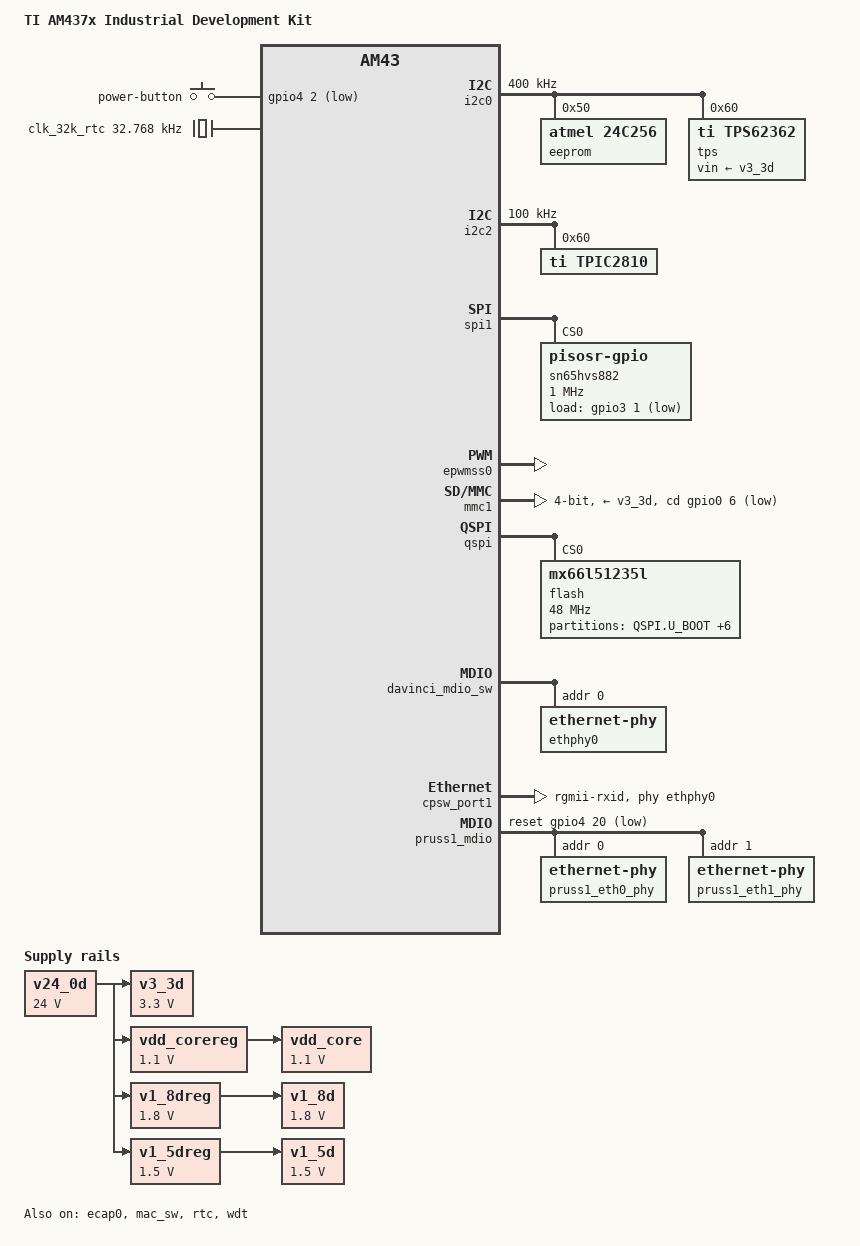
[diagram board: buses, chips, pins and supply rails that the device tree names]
// SPDX-License-Identifier: GPL-2.0-only
/*
 * Copyright (C) 2014 Texas Instruments Incorporated - https://www.ti.com/
 */

/dts-v1/;

#include "am4372.dtsi"
#include <dt-bindings/pinctrl/am43xx.h>
#include <dt-bindings/pwm/pwm.h>
#include <dt-bindings/gpio/gpio.h>
#include <dt-bindings/input/input.h>

/ {
	model = "TI AM437x Industrial Development Kit";
	compatible = "ti,am437x-idk-evm","ti,am4372","ti,am43";

	chosen {
		stdout-path = &uart0;
	};

	v24_0d: fixed-regulator-v24_0d {
		compatible = "regulator-fixed";
		regulator-name = "V24_0D";
		regulator-min-microvolt = <24000000>;
		regulator-max-microvolt = <24000000>;
		regulator-always-on;
		regulator-boot-on;
	};

	v3_3d: fixed-regulator-v3_3d {
		compatible = "regulator-fixed";
		regulator-name = "V3_3D";
		regulator-min-microvolt = <3300000>;
		regulator-max-microvolt = <3300000>;
		regulator-always-on;
		regulator-boot-on;
		vin-supply = <&v24_0d>;
	};

	vdd_corereg: fixed-regulator-vdd_corereg {
		compatible = "regulator-fixed";
		regulator-name = "VDD_COREREG";
		regulator-min-microvolt = <1100000>;
		regulator-max-microvolt = <1100000>;
		regulator-always-on;
		regulator-boot-on;
		vin-supply = <&v24_0d>;
	};

	vdd_core: fixed-regulator-vdd_core {
		compatible = "regulator-fixed";
		regulator-name = "VDD_CORE";
		regulator-min-microvolt = <1100000>;
		regulator-max-microvolt = <1100000>;
		regulator-always-on;
		regulator-boot-on;
		vin-supply = <&vdd_corereg>;
	};

	v1_8dreg: fixed-regulator-v1_8dreg {
		compatible = "regulator-fixed";
		regulator-name = "V1_8DREG";
		regulator-min-microvolt = <1800000>;
		regulator-max-microvolt = <1800000>;
		regulator-always-on;
		regulator-boot-on;
		vin-supply = <&v24_0d>;
	};

	v1_8d: fixed-regulator-v1_8d {
		compatible = "regulator-fixed";
		regulator-name = "V1_8D";
		regulator-min-microvolt = <1800000>;
		regulator-max-microvolt = <1800000>;
		regulator-always-on;
		regulator-boot-on;
		vin-supply = <&v1_8dreg>;
	};

	v1_5dreg: fixed-regulator-v1_5dreg {
		compatible = "regulator-fixed";
		regulator-name = "V1_5DREG";
		regulator-min-microvolt = <1500000>;
		regulator-max-microvolt = <1500000>;
		regulator-always-on;
		regulator-boot-on;
		vin-supply = <&v24_0d>;
	};

	v1_5d: fixed-regulator-v1_5d {
		compatible = "regulator-fixed";
		regulator-name = "V1_5D";
		regulator-min-microvolt = <1500000>;
		regulator-max-microvolt = <1500000>;
		regulator-always-on;
		regulator-boot-on;
		vin-supply = <&v1_5dreg>;
	};

	gpio_keys: gpio-keys {
		compatible = "gpio-keys";
		pinctrl-names = "default";
		pinctrl-0 = <&gpio_keys_pins_default>;

		switch-0 {
			label = "power-button";
			linux,code = <KEY_POWER>;
			gpios = <&gpio4 2 GPIO_ACTIVE_LOW>;
		};
	};

	/* fixed 32k external oscillator clock */
	clk_32k_rtc: clk_32k_rtc {
		#clock-cells = <0>;
		compatible = "fixed-clock";
		clock-frequency = <32768>;
	};

	leds-iio {
		status = "disabled";
		compatible = "gpio-leds";
		led-out0 {
			label = "out0";
			gpios = <&tpic2810 0 GPIO_ACTIVE_HIGH>;
			default-state = "off";
		};

		led-out1 {
			label = "out1";
			gpios = <&tpic2810 1 GPIO_ACTIVE_HIGH>;
			default-state = "off";
		};

		led-out2 {
			label = "out2";
			gpios = <&tpic2810 2 GPIO_ACTIVE_HIGH>;
			default-state = "off";
		};

		led-out3 {
			label = "out3";
			gpios = <&tpic2810 3 GPIO_ACTIVE_HIGH>;
			default-state = "off";
		};

		led-out4 {
			label = "out4";
			gpios = <&tpic2810 4 GPIO_ACTIVE_HIGH>;
			default-state = "off";
		};

		led-out5 {
			label = "out5";
			gpios = <&tpic2810 5 GPIO_ACTIVE_HIGH>;
			default-state = "off";
		};

		led-out6 {
			label = "out6";
			gpios = <&tpic2810 6 GPIO_ACTIVE_HIGH>;
			default-state = "off";
		};

		led-out7 {
			label = "out7";
			gpios = <&tpic2810 7 GPIO_ACTIVE_HIGH>;
			default-state = "off";
		};
	};

	/* Dual-MAC Ethernet application node on PRU-ICSS1 */
	pruss1_eth: pruss1-eth {
		compatible = "ti,am4376-prueth";
		ti,prus = <&pru1_0>, <&pru1_1>;
		sram = <&ocmcram>;
		ti,mii-rt = <&pruss1_mii_rt>;
		ti,iep = <&pruss1_iep>;
		ti,ecap = <&pruss1_ecap>;
		interrupts = <20 2 2>, <21 3 3>;
		interrupt-names = "rx_hp", "rx_lp";
		interrupt-parent = <&pruss1_intc>;

		pinctrl-0 = <&pruss1_eth_default>;
		pinctrl-names = "default";

		ethernet-ports {
			#address-cells = <1>;
			#size-cells = <0>;
			pruss1_emac0: ethernet-port@0 {
				reg = <0>;
				phy-handle = <&pruss1_eth0_phy>;
				phy-mode = "mii";
				interrupts = <20 2 2>, <26 6 6>, <23 6 6>;
				interrupt-names = "rx", "emac_ptp_tx",
						  "hsr_ptp_tx";
				/* Filled in by bootloader */
				local-mac-address = [00 00 00 00 00 00];
			};

			pruss1_emac1: ethernet-port@1 {
				reg = <1>;
				phy-handle = <&pruss1_eth1_phy>;
				phy-mode = "mii";
				interrupts = <21 3 3>, <27 9 5>, <24 9 5>;
				interrupt-names = "rx", "emac_ptp_tx",
						  "hsr_ptp_tx";
				/* Filled in by bootloader */
				local-mac-address = [00 00 00 00 00 00];
			};
		};
	};
};

&am43xx_pinmux {
	gpio_keys_pins_default: gpio-keys-default-pins {
		pinctrl-single,pins = <
			AM4372_IOPAD(0x9b8, PIN_INPUT | MUX_MODE7)	/* cam0_field.gpio4_2 */
		>;
	};

	i2c0_pins_default: i2c0-default-pins {
		pinctrl-single,pins = <
			AM4372_IOPAD(0x988, PIN_INPUT | SLEWCTRL_FAST | MUX_MODE0) /* i2c0_sda.i2c0_sda */
			AM4372_IOPAD(0x98c, PIN_INPUT | SLEWCTRL_FAST | MUX_MODE0) /* i2c0_scl.i2c0_scl */
		>;
	};

	i2c0_pins_sleep: i2c0-sleep-pins {
		pinctrl-single,pins = <
			AM4372_IOPAD(0x988, PIN_INPUT_PULLDOWN | MUX_MODE7)
			AM4372_IOPAD(0x98c, PIN_INPUT_PULLDOWN | MUX_MODE7)
		>;
	};

	i2c2_pins_default: i2c2-default-pins {
		pinctrl-single,pins = <
			AM4372_IOPAD(0x9e8, PIN_INPUT | SLEWCTRL_FAST | MUX_MODE3) /* cam1_data1.i2c2_scl */
			AM4372_IOPAD(0x9ec, PIN_INPUT | SLEWCTRL_FAST | MUX_MODE3) /* cam1_data0.i2c2_sda */
		>;
	};

	i2c2_pins_sleep: i2c2-sleep-pins {
		pinctrl-single,pins = <
			AM4372_IOPAD(0x9e8, PIN_INPUT_PULLDOWN | MUX_MODE7)
			AM4372_IOPAD(0x9ec, PIN_INPUT_PULLDOWN | MUX_MODE7)
		>;
	};

	mmc1_pins_default: mmc1-default-pins {
		pinctrl-single,pins = <
			AM4372_IOPAD(0x900, PIN_INPUT | MUX_MODE0) /* mmc0_clk.mmc0_clk */
			AM4372_IOPAD(0x904, PIN_INPUT | MUX_MODE0) /* mmc0_cmd.mmc0_cmd */
			AM4372_IOPAD(0x9f0, PIN_INPUT | MUX_MODE0) /* mmc0_dat3.mmc0_dat3 */
			AM4372_IOPAD(0x9f4, PIN_INPUT | MUX_MODE0) /* mmc0_dat2.mmc0_dat2 */
			AM4372_IOPAD(0x9f8, PIN_INPUT | MUX_MODE0) /* mmc0_dat1.mmc0_dat1 */
			AM4372_IOPAD(0x9fc, PIN_INPUT | MUX_MODE0) /* mmc0_dat0.mmc0_dat0 */
			AM4372_IOPAD(0x960, PIN_INPUT | MUX_MODE7) /* spi0_cs1.gpio0_6 */
		>;
	};

	mmc1_pins_sleep: mmc1-sleep-pins {
		pinctrl-single,pins = <
			AM4372_IOPAD(0x900, PIN_INPUT_PULLDOWN | MUX_MODE7)
			AM4372_IOPAD(0x904, PIN_INPUT_PULLDOWN | MUX_MODE7)
			AM4372_IOPAD(0x9f0, PIN_INPUT_PULLDOWN | MUX_MODE7)
			AM4372_IOPAD(0x9f4, PIN_INPUT_PULLDOWN | MUX_MODE7)
			AM4372_IOPAD(0x9f8, PIN_INPUT_PULLDOWN | MUX_MODE7)
			AM4372_IOPAD(0x9fc, PIN_INPUT_PULLDOWN | MUX_MODE7)
			AM4372_IOPAD(0x960, PIN_INPUT_PULLDOWN | MUX_MODE7)
		>;
	};

	spi1_pins_default: spi1-default-pins {
		pinctrl-single,pins = <
			AM4372_IOPAD(0x908, PIN_INPUT | MUX_MODE2)	/* mii1_col.spi1_sclk */
			AM4372_IOPAD(0x910, PIN_INPUT | MUX_MODE2)	/* mii1_rx_er.spi1_d1 */
			AM4372_IOPAD(0x944, PIN_OUTPUT | MUX_MODE2)	/* rmii1_ref_clk.spi1_cs0 */
			AM4372_IOPAD(0x90c, PIN_OUTPUT | MUX_MODE7)	/* mii1_crs.gpio3_1 */
		>;
	};

	spi1_pins_sleep: spi1-sleep-pins {
		pinctrl-single,pins = <
			AM4372_IOPAD(0x908, PIN_INPUT_PULLDOWN | MUX_MODE7)
			AM4372_IOPAD(0x910, PIN_INPUT_PULLDOWN | MUX_MODE7)
			AM4372_IOPAD(0x944, PIN_INPUT_PULLDOWN | MUX_MODE7)
			AM4372_IOPAD(0x90c, PIN_INPUT_PULLDOWN | MUX_MODE7)
		>;
	};

	ecap0_pins_default: backlight-default-pins {
		pinctrl-single,pins = <
			AM4372_IOPAD(0x964, PIN_OUTPUT | MUX_MODE0) /* ecap0_in_pwm0_out.ecap0_in_pwm0_out */
		>;
	};

	cpsw_default: cpsw-default-pins {
		pinctrl-single,pins = <
			AM4372_IOPAD(0x92c, PIN_OUTPUT_PULLDOWN | MUX_MODE2)	/* mii1_txclk.rgmii1_tclk */
			AM4372_IOPAD(0x914, PIN_OUTPUT_PULLDOWN | MUX_MODE2)	/* mii1_txen.rgmii1_tctl */
			AM4372_IOPAD(0x928, PIN_OUTPUT_PULLDOWN | MUX_MODE2)	/* mii1_txd0.rgmii1_td0 */
			AM4372_IOPAD(0x924, PIN_OUTPUT_PULLDOWN | MUX_MODE2)	/* mii1_txd1.rgmii1_td1 */
			AM4372_IOPAD(0x920, PIN_OUTPUT_PULLDOWN | MUX_MODE2)	/* mii1_txd0.rgmii1_td2 */
			AM4372_IOPAD(0x91c, PIN_OUTPUT_PULLDOWN | MUX_MODE2)	/* mii1_txd1.rgmii1_td3 */
			AM4372_IOPAD(0x930, PIN_INPUT_PULLDOWN | MUX_MODE2)	/* mii1_rxclk.rmii1_rclk */
			AM4372_IOPAD(0x918, PIN_INPUT_PULLDOWN | MUX_MODE2)	/* mii1_rxdv.rgmii1_rctl */
			AM4372_IOPAD(0x940, PIN_INPUT_PULLDOWN | MUX_MODE2)	/* mii1_rxd0.rgmii1_rd0 */
			AM4372_IOPAD(0x93c, PIN_INPUT_PULLDOWN | MUX_MODE2)	/* mii1_rxd1.rgmii1_rd1 */
			AM4372_IOPAD(0x938, PIN_INPUT_PULLDOWN | MUX_MODE2)	/* mii1_rxd0.rgmii1_rd2 */
			AM4372_IOPAD(0x934, PIN_INPUT_PULLDOWN | MUX_MODE2)	/* mii1_rxd1.rgmii1_rd3 */
		>;
	};

	cpsw_sleep: cpsw-sleep-pins {
		pinctrl-single,pins = <
			AM4372_IOPAD(0x92c, PIN_INPUT_PULLDOWN | MUX_MODE7)
			AM4372_IOPAD(0x914, PIN_INPUT_PULLDOWN | MUX_MODE7)
			AM4372_IOPAD(0x928, PIN_INPUT_PULLDOWN | MUX_MODE7)
			AM4372_IOPAD(0x924, PIN_INPUT_PULLDOWN | MUX_MODE7)
			AM4372_IOPAD(0x920, PIN_INPUT_PULLDOWN | MUX_MODE7)
			AM4372_IOPAD(0x91c, PIN_INPUT_PULLDOWN | MUX_MODE7)
			AM4372_IOPAD(0x930, PIN_INPUT_PULLDOWN | MUX_MODE7)
			AM4372_IOPAD(0x918, PIN_INPUT_PULLDOWN | MUX_MODE7)
			AM4372_IOPAD(0x940, PIN_INPUT_PULLDOWN | MUX_MODE7)
			AM4372_IOPAD(0x93c, PIN_INPUT_PULLDOWN | MUX_MODE7)
			AM4372_IOPAD(0x938, PIN_INPUT_PULLDOWN | MUX_MODE7)
			AM4372_IOPAD(0x934, PIN_INPUT_PULLDOWN | MUX_MODE7)
		>;
	};

	davinci_mdio_default: davinci-mdio-default-pins {
		pinctrl-single,pins = <
			/* MDIO */
			AM4372_IOPAD(0x948, PIN_INPUT_PULLUP | SLEWCTRL_FAST | MUX_MODE0)	/* mdio_data.mdio_data */
			AM4372_IOPAD(0x94c, PIN_OUTPUT_PULLUP | MUX_MODE0)			/* mdio_clk.mdio_clk */
		>;
	};

	davinci_mdio_sleep: davinci-mdio-sleep-pins {
		pinctrl-single,pins = <
			/* MDIO reset value */
			AM4372_IOPAD(0x948, PIN_INPUT_PULLDOWN | MUX_MODE7)
			AM4372_IOPAD(0x94c, PIN_INPUT_PULLDOWN | MUX_MODE7)
		>;
	};

	pruss1_mdio_default: pruss1-mdio-default-pins {
		pinctrl-single,pins = <
			AM4372_IOPAD(0x88c, PIN_OUTPUT | MUX_MODE5) /* (A12) gpmc_clk.pr1_mdio_mdclk */
			AM4372_IOPAD(0xa70, PIN_INPUT | MUX_MODE8) /* (D24) xdma_event_intr0.pr1_mdio_data */
			AM4372_IOPAD(0xa00, PIN_INPUT_PULLUP | MUX_MODE7) /* (AD23) cam1_data6.gpio4[20] */
		>;
	};

	pruss1_eth_default: pruss1-eth-default-pins {
		pinctrl-single,pins = <
			AM4372_IOPAD(0x8a0, PIN_INPUT | MUX_MODE2) /* (B22) dss_data0.pr1_mii_mt0_clk */
			AM4372_IOPAD(0x8b4, PIN_OUTPUT | MUX_MODE2) /* (B20) dss_data5.pr1_mii0_txd0 */
			AM4372_IOPAD(0x8b0, PIN_OUTPUT | MUX_MODE2) /* (A20) dss_data4.pr1_mii0_txd1 */
			AM4372_IOPAD(0x8ac, PIN_OUTPUT | MUX_MODE2) /* (C21) dss_data3.pr1_mii0_txd2 */
			AM4372_IOPAD(0x8a8, PIN_OUTPUT | MUX_MODE2) /* (B21) dss_data2.pr1_mii0_txd3 */
			AM4372_IOPAD(0x8cc, PIN_INPUT | MUX_MODE5) /* (B18) dss_data11.pr1_mii0_rxd0 */
			AM4372_IOPAD(0x8c8, PIN_INPUT | MUX_MODE5) /* (A18) dss_data10.pr1_mii0_rxd1 */
			AM4372_IOPAD(0x8c4, PIN_INPUT | MUX_MODE5) /* (B19) dss_data9.pr1_mii0_rxd2 */
			AM4372_IOPAD(0x8c0, PIN_INPUT | MUX_MODE5) /* (A19) dss_data8.pr1_mii0_rxd3 */
			AM4372_IOPAD(0x8a4, PIN_OUTPUT | MUX_MODE2) /* (A21) dss_data1.pr1_mii0_txen */
			AM4372_IOPAD(0x8d8, PIN_INPUT | MUX_MODE5) /* (C17) dss_data14.pr1_mii_mr0_clk */
			AM4372_IOPAD(0x8dc, PIN_INPUT | MUX_MODE5) /* (D17) dss_data15.pr1_mii0_rxdv */
			AM4372_IOPAD(0x8d4, PIN_INPUT | MUX_MODE5) /* (D19) dss_data13.pr1_mii0_rxer */
			AM4372_IOPAD(0x8d0, PIN_INPUT | MUX_MODE5) /* (C19) dss_data12.pr1_mii0_rxlink */
			AM4372_IOPAD(0xa40, PIN_INPUT | MUX_MODE5) /* (G20) gpio5_10.pr1_mii0_crs */
			AM4372_IOPAD(0xa38, PIN_INPUT | MUX_MODE5) /* (D25) gpio5_8.pr1_mii0_col */

			AM4372_IOPAD(0x858, PIN_INPUT | MUX_MODE5) /* (E8) gpmc_a6.pr1_mii_mt1_clk */
			AM4372_IOPAD(0x854, PIN_OUTPUT | MUX_MODE5) /* (E7) gpmc_a5.pr1_mii1_txd0 */
			AM4372_IOPAD(0x850, PIN_OUTPUT | MUX_MODE5) /* (D7) gpmc_a4.pr1_mii1_txd1 */
			AM4372_IOPAD(0x84c, PIN_OUTPUT | MUX_MODE5) /* (A4) gpmc_a3.pr1_mii1_txd2 */
			AM4372_IOPAD(0x848, PIN_OUTPUT | MUX_MODE5) /* (C6) gpmc_a2.pr1_mii1_txd3 */
			AM4372_IOPAD(0x86c, PIN_INPUT | MUX_MODE5) /* (D8) gpmc_a11.pr1_mii1_rxd0 */
			AM4372_IOPAD(0x868, PIN_INPUT | MUX_MODE5) /* (G8) gpmc_a10.pr1_mii1_rxd1 */
			AM4372_IOPAD(0x864, PIN_INPUT | MUX_MODE5) /* (B4) gpmc_a9.pr1_mii1_rxd2 */
			AM4372_IOPAD(0x860, PIN_INPUT | MUX_MODE5) /* (F7) gpmc_a8.pr1_mii1_rxd3 */
			AM4372_IOPAD(0x840, PIN_OUTPUT | MUX_MODE5) /* (C3) gpmc_a0.pr1_mii1_txen */
			AM4372_IOPAD(0x85c, PIN_INPUT | MUX_MODE5) /* (F6) gpmc_a7.pr1_mii_mr1_clk */
			AM4372_IOPAD(0x844, PIN_INPUT | MUX_MODE5) /* (C5) gpmc_a1.pr1_mii1_rxdv */
			AM4372_IOPAD(0x874, PIN_INPUT | MUX_MODE5) /* (B3) gpmc_wpn.pr1_mii1_rxer */
			AM4372_IOPAD(0xa4c, PIN_INPUT | MUX_MODE5) /* (E24) gpio5_13.pr1_mii1_rxlink */
			AM4372_IOPAD(0xa44, PIN_INPUT | MUX_MODE5) /* (F23) gpio5_11.pr1_mii1_crs */
			AM4372_IOPAD(0x878, PIN_INPUT | MUX_MODE5) /* (A3) gpmc_be1n.pr1_mii1_col */
		>;
	};

	qspi_pins_default: qspi-default-pins {
		pinctrl-single,pins = <
			AM4372_IOPAD(0x87c, PIN_OUTPUT_PULLUP | MUX_MODE3)	/* gpmc_csn0.qspi_csn */
			AM4372_IOPAD(0x888, PIN_OUTPUT | MUX_MODE2)		/* gpmc_csn3.qspi_clk */
			AM4372_IOPAD(0x890, PIN_INPUT_PULLUP | MUX_MODE3)	/* gpmc_advn_ale.qspi_d0 */
			AM4372_IOPAD(0x894, PIN_INPUT_PULLUP | MUX_MODE3)	/* gpmc_oen_ren.qspi_d1 */
			AM4372_IOPAD(0x898, PIN_INPUT_PULLUP | MUX_MODE3)	/* gpmc_wen.qspi_d2 */
			AM4372_IOPAD(0x89c, PIN_INPUT_PULLUP | MUX_MODE3)	/* gpmc_be0n_cle.qspi_d3 */
		>;
	};

	qspi_pins_sleep: qspi-sleep-pins {
		pinctrl-single,pins = <
			AM4372_IOPAD(0x87c, PIN_INPUT_PULLDOWN | MUX_MODE7)
			AM4372_IOPAD(0x888, PIN_INPUT_PULLDOWN | MUX_MODE7)
			AM4372_IOPAD(0x890, PIN_INPUT_PULLDOWN | MUX_MODE7)
			AM4372_IOPAD(0x894, PIN_INPUT_PULLDOWN | MUX_MODE7)
			AM4372_IOPAD(0x898, PIN_INPUT_PULLDOWN | MUX_MODE7)
			AM4372_IOPAD(0x89c, PIN_INPUT_PULLDOWN | MUX_MODE7)
		>;
	};
};

&i2c0 {
	status = "okay";
	pinctrl-names = "default", "sleep";
	pinctrl-0 = <&i2c0_pins_default>;
	pinctrl-1 = <&i2c0_pins_sleep>;
	clock-frequency = <400000>;

	eeprom@50 {
		compatible = "atmel,24c256";
		pagesize = <64>;
		reg = <0x50>;
	};

	tps: tps62362@60 {
		compatible = "ti,tps62362";
		reg = <0x60>;
		regulator-name = "VDD_MPU";
		regulator-min-microvolt = <950000>;
		regulator-max-microvolt = <1330000>;
		regulator-boot-on;
		regulator-always-on;
		ti,vsel0-state-high;
		ti,vsel1-state-high;
		vin-supply = <&v3_3d>;
	};
};

&i2c2 {
	status = "okay";
	pinctrl-names = "default", "sleep";
	pinctrl-0 = <&i2c2_pins_default>;
	pinctrl-1 = <&i2c2_pins_sleep>;
	clock-frequency = <100000>;

	tpic2810: tpic2810@60 {
		compatible = "ti,tpic2810";
		reg = <0x60>;
		gpio-controller;
		#gpio-cells = <2>;
	};
};

&spi1 {
	status = "okay";
	pinctrl-names = "default", "sleep";
	pinctrl-0 = <&spi1_pins_default>;
	pinctrl-1 = <&spi1_pins_sleep>;
	ti,pindir-d0-out-d1-in;

	sn65hvs882: sn65hvs882@0 {
		compatible = "pisosr-gpio";
		gpio-controller;
		#gpio-cells = <2>;

		load-gpios = <&gpio3 1 GPIO_ACTIVE_LOW>;

		reg = <0>;
		spi-max-frequency = <1000000>;
		spi-cpol;
	};
};

&epwmss0 {
	status = "okay";
};

&ecap0 {
	status = "okay";
	pinctrl-names = "default";
	pinctrl-0 = <&ecap0_pins_default>;
};

&gpio0 {
	status = "okay";
};

&gpio1 {
	status = "okay";
};

&gpio3 {
	status = "okay";
};

&gpio4 {
	status = "okay";
};

&gpio5 {
	status = "okay";
};

&mmc1 {
	status = "okay";
	pinctrl-names = "default", "sleep";
	pinctrl-0 = <&mmc1_pins_default>;
	pinctrl-1 = <&mmc1_pins_sleep>;
	vmmc-supply = <&v3_3d>;
	bus-width = <4>;
	cd-gpios = <&gpio0 6 GPIO_ACTIVE_LOW>;
};

&qspi {
	status = "okay";
	pinctrl-names = "default", "sleep";
	pinctrl-0 = <&qspi_pins_default>;
	pinctrl-1 = <&qspi_pins_sleep>;

	spi-max-frequency = <48000000>;
	flash@0 {
		compatible = "mx66l51235l";
		spi-max-frequency = <48000000>;
		reg = <0>;
		spi-cpol;
		spi-cpha;
		spi-tx-bus-width = <1>;
		spi-rx-bus-width = <4>;
		#address-cells = <1>;
		#size-cells = <1>;

		/*
		 * MTD partition table.  The ROM checks the first 512KiB for a
		 * valid file to boot(XIP).
		 */
		partition@0 {
			label = "QSPI.U_BOOT";
			reg = <0x00000000 0x00080000>;
		};
		partition@1 {
			label = "QSPI.U_BOOT.backup";
			reg = <0x00080000 0x00080000>;
		};
		partition@2 {
			label = "QSPI.U-BOOT-SPL_OS";
			reg = <0x00100000 0x00010000>;
		};
		partition@3 {
			label = "QSPI.U_BOOT_ENV";
			reg = <0x00110000 0x00010000>;
		};
		partition@4 {
			label = "QSPI.U-BOOT-ENV.backup";
			reg = <0x00120000 0x00010000>;
		};
		partition@5 {
			label = "QSPI.KERNEL";
			reg = <0x00130000 0x0800000>;
		};
		partition@6 {
			label = "QSPI.FILESYSTEM";
			reg = <0x00930000 0x36D0000>;
		};
	};
};

&mac_sw {
	pinctrl-names = "default", "sleep";
	pinctrl-0 = <&cpsw_default>;
	pinctrl-1 = <&cpsw_sleep>;
	status = "okay";
};

&davinci_mdio_sw {
	pinctrl-names = "default", "sleep";
	pinctrl-0 = <&davinci_mdio_default>;
	pinctrl-1 = <&davinci_mdio_sleep>;

	ethphy0: ethernet-phy@0 {
		reg = <0>;
	};
};

&cpsw_port1 {
	phy-handle = <&ethphy0>;
	phy-mode = "rgmii-rxid";
	ti,dual-emac-pvid = <1>;
};

&cpsw_port2 {
	status = "disabled";
};

&rtc {
	clocks = <&clk_32k_rtc>, <&clk_32768_ck>;
	clock-names = "ext-clk", "int-clk";
	status = "okay";
};

&wdt {
	status = "okay";
};

&cpu {
	cpu0-supply = <&tps>;
};

&cpu0_opp_table {
	/*
	 * Supply voltage supervisor on board will not allow opp50 so
	 * disable it and set opp100 as suspend OPP.
	 */
	opp-50-300000000 {
		/* opp50-300000000 */
		status = "disabled";
	};

	opp-100-600000000 {
		/* opp100-600000000 */
		opp-suspend;
	};
};

&pruss1_mdio {
	pinctrl-0 = <&pruss1_mdio_default>;
	pinctrl-names = "default";
	status = "okay";

	reset-gpios = <&gpio4 20 GPIO_ACTIVE_LOW>;
	reset-delay-us = <2>;	/* PHY datasheet states 1uS min */

	pruss1_eth0_phy: ethernet-phy@0 {
		reg = <0>;
	};

	pruss1_eth1_phy: ethernet-phy@1 {
		reg = <1>;
	};
};
